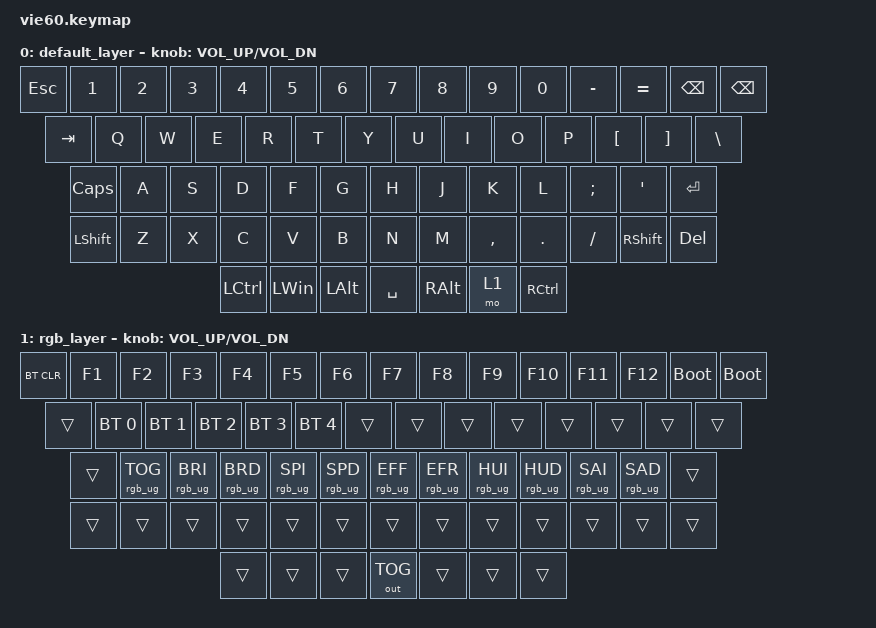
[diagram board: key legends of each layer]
/*
 * Copyright (c) 2021 Nick Winans
 *
 * SPDX-License-Identifier: MIT
 */

#include <behaviors.dtsi>
#include <dt-bindings/zmk/keys.h>
#include <dt-bindings/zmk/bt.h>
#include <dt-bindings/zmk/rgb.h>
#include <dt-bindings/zmk/outputs.h>

/ {
    keymap {
        compatible = "zmk,keymap";

        default_layer {
            // -------------------------------------------------------------------------------------------
            // | ESC |  1  |  2  |  3  |  4  |  5  |  6  |  7  |  8  |  9  |  0  |  -  |  =  | BKSP |BKSP|
            // | TAB  |  Q  |  W  |  E  |  R  |  T  |  Y  |  U  |  I  |  O  |  P  |  [  |  ]  |   "|"    |
            // | CAPS  |  A  |  S  |  D  |  F  |  G  |  H  |  J  |  K  |  L  |  ;  |  '  |     ENTER     |
            // |  SHIFT  |  Z  |  X  |  C  |  V  |  B  |  N  |  M  |  ,  |  .  |   SHFT   |  UP  |   /   |
            // |   CTL   | WIN |   ALT   |                SPACE                |  FN(1)  | WIN |    ?    |
            // -------------------------------------------------------------------------------------------

            bindings = <
&kp ESCAPE  &kp NUMBER_1        &kp N2  &kp N3  &kp N4     &kp N5    &kp N6  &kp N7             &kp N8   &kp N9    &kp N0        &kp MINUS  &kp EQUAL  &kp BACKSPACE  &kp BACKSPACE
   &kp TAB         &kp Q         &kp W   &kp E   &kp R      &kp T     &kp Y   &kp U              &kp I    &kp O     &kp P         &kp LBKT   &kp RBKT       &kp BSLH
  &kp CAPS         &kp A         &kp S   &kp D   &kp F      &kp G     &kp H   &kp J              &kp K    &kp L  &kp SEMI          &kp SQT                 &kp ENTER
&kp LSHIFT         &kp Z         &kp X   &kp C   &kp V      &kp B     &kp N   &kp M          &kp COMMA  &kp DOT  &kp FSLH  &kp RIGHT_SHIFT    &kp DEL
 &kp LCTRL  &kp LEFT_WIN  &kp LEFT_ALT                  &kp SPACE  &kp RALT   &mo 1  &kp RIGHT_CONTROL
            >;

            sensor-bindings = <&inc_dec_kp C_VOL_UP C_VOL_DN>;
        };

        rgb_layer {
            // ------------------------------------------------------------------------------------------------
            // | BT CLR | F1  | F2  | F3  | F4  | F5  | F6  | F7  | F8  | F9  | F10 | F11 | F12 | BOOT | BOOT |
            // |  BT 1   |   |  UP |   | HUEUP | SATUP | BRIUP | SPDUP |   |     |    |     |     |  RGB_efect|
            // |   BT 2   | LT |  DN  | RT | HUEDN | SATDN | BRIDN | SPDDN |   |     |   |     |  EFFECT FORW |
            // |    BT 3     |     |      |      |     |     |     |     |     |     |     |                  |
            // |   BT 4  |      |      |             TOG RGB                | PRT SCR |    |    |     |  DEL  |
            // ------------------------------------------------------------------------------------------------

            bindings = <
&bt BT_CLR           &kp F1           &kp F2           &kp F3           &kp F4           &kp F5           &kp F6           &kp F7           &kp F8           &kp F9          &kp F10          &kp F11  &kp F12  &bootloader  &bootloader
    &trans     &bt BT_SEL 0     &bt BT_SEL 1     &bt BT_SEL 2     &bt BT_SEL 3     &bt BT_SEL 4           &trans           &trans           &trans           &trans           &trans           &trans   &trans       &trans
    &trans  &rgb_ug RGB_TOG  &rgb_ug RGB_BRI  &rgb_ug RGB_BRD  &rgb_ug RGB_SPI  &rgb_ug RGB_SPD  &rgb_ug RGB_EFF  &rgb_ug RGB_EFR  &rgb_ug RGB_HUI  &rgb_ug RGB_HUD  &rgb_ug RGB_SAI  &rgb_ug RGB_SAD                &trans
    &trans           &trans           &trans           &trans           &trans           &trans           &trans           &trans           &trans           &trans           &trans           &trans   &trans
    &trans           &trans           &trans                                       &out OUT_TOG           &trans           &trans           &trans
            >;

            sensor-bindings = <&inc_dec_kp C_VOL_UP C_VOL_DN>;
        };
    };
};
